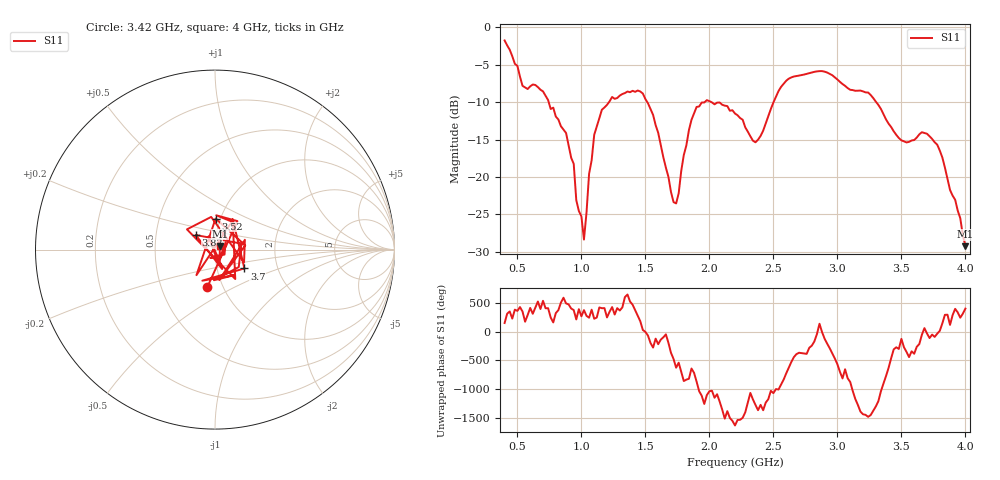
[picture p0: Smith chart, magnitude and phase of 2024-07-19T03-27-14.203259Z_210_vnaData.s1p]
!Created with skrf (http://scikit-rf.org).
# Hz S RI R 50.0
!freq ReS11 ImS11
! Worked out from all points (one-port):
!   181 points, 400 MHz to 4 GHz, reference 50 ohm
!   lowest |S11| = -29.2 dB at 4 GHz (marker M1), VSWR 1.07, Z = 52.8 + j2.21 ohm
!   |S11| at or under -10 dB: 744.5 MHz to 1.216 GHz (471 MHz wide, 48.1 % of centre); 2.016 GHz to 2.501 GHz (485.3 MHz wide, 21.5 % of centre); 3.303 GHz to end of sweep (the widest 3 of 4)
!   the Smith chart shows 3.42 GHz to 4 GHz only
!   S11 on the Smith chart (normalised r, x): 3.42 GHz: 0.84, -0.37; 3.52 GHz: 0.95, +0.34; 3.7 GHz: 1.35, -0.30; 3.82 GHz: 0.80, +0.13; 4 GHz: 1.06, +0.04
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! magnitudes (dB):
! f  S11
! 400 MHz  -1.8
! 540 MHz  -7.8
! 700 MHz  -8.6
! 860 MHz  -13.7
! 940 MHz  -18.2
! 960 MHz  -23.1
! 1.02 GHz  -28.4
! 1.06 GHz  -19.6
! 1.1 GHz  -14.4
! 1.16 GHz  -11.0
! 1.3 GHz  -9.1
! 1.48 GHz  -8.8
! 1.6 GHz  -14.1
! 1.72 GHz  -23.4
! 1.76 GHz  -22.2
! 1.84 GHz  -13.7
! 1.9 GHz  -10.6
! 2.2 GHz  -11.5
! 2.36 GHz  -15.4
! 2.66 GHz  -6.6
! 3.1 GHz  -8.3
! 3.24 GHz  -8.7
! 3.42 GHz  -13.3
! 3.52 GHz  -15.2
! 3.56 GHz  -15.3
! 3.7 GHz  -14.2
! 3.82 GHz  -17.4
! 4 GHz  -29.2
